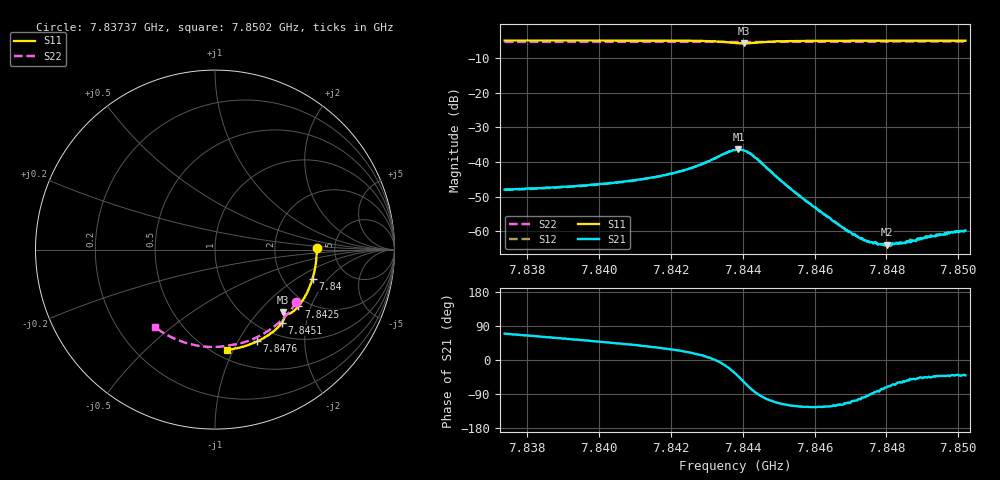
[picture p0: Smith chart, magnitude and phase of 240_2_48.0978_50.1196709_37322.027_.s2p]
#  HZ  S  RI  R  50.00
! Rohde & Schwarz Vector Network Analyzer
! Rohde-Schwarz,ZNB20-2Port,1311601062101988,3.16
! Created: UTC 12/23/2023, 3:58:40 AM
! freq[Hz]  re:S11  im:S11  re:S21  im:S21  re:S12  im:S12  re:S22  im:S22
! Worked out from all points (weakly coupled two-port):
!   401 points, 7.83737 GHz to 7.8502 GHz, reference 50 ohm
!   highest |S21| = -36.38 dB at 7.84388 GHz (marker M1); lowest = -63.9 dB at 7.84802 GHz (marker M2)
!   lowest |S11| = -5.8 dB at 7.84404 GHz (marker M3), VSWR 3.12, Z = 72.3 - j68.7 ohm
!   |S11| at or under -10 dB: nowhere
!   |S22| runs from -5.4 to -5.3 dB; largest |S21 - S12| = 0.00028
!   S11 on the Smith chart (normalised r, x): 7.83737 GHz: 3.61, +0.12; 7.84 GHz: 2.89, -1.38; 7.8425 GHz: 1.77, -1.64; 7.8451 GHz: 1.25, -1.46; 7.8476 GHz: 0.81, -1.21; 7.8502 GHz: 0.58, -0.95
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7.837367e9  0.5662 0.0116  0.00138 0.00375  0.00144 0.00366  0.4539 -0.2919
7.839517e9  0.5517 -0.1306  0.00277 0.00363  0.00275 0.00356  0.3567 -0.4062
7.839998e9  0.5432 -0.1619  0.00319 0.00356  0.00312 0.00356  0.3306 -0.4278
7.841666e9  0.4986 -0.2668  0.00525 0.00333  0.00523 0.0033  0.2313 -0.4894
7.8425e9  0.4642 -0.3169  0.00749 0.00276  0.00743 0.00276  0.1771 -0.5117
7.843783e9  0.3811 -0.3568  0.0121 -0.0086  0.0122 -0.00843  0.0903 -0.5315
7.84388e9  0.3781 -0.3538  0.011 -0.0105  0.011 -0.0102  0.084 -0.5323
7.84404e9  0.3784 -0.349  0.0075 -0.0125  0.00771 -0.0126  0.0742 -0.5339
7.844425e9  0.3884 -0.3606  1.97e-05 -0.0107  6.54e-05 -0.0108  0.0491 -0.5384
7.845099e9  0.3736 -0.4064  -0.00229 -0.00465  -0.00228 -0.00466  0.00172 -0.5427
7.845933e9  0.3321 -0.4507  -0.00131 -0.00193  -0.00135 -0.00198  -0.057 -0.5405
7.846928e9  0.2756 -0.4901  -0.000384 -0.000922  -0.000378 -0.000906  -0.1261 -0.5295
7.847248e9  0.2566 -0.5007  -0.000184 -0.000792  -0.000174 -0.000772  -0.148 -0.524
7.847601e9  0.2351 -0.5113  1.94e-05 -0.000693  -5.64e-06 -0.000683  -0.1716 -0.5168
7.847826e9  0.2213 -0.5176  0.000114 -0.000638  0.000138 -0.000666  -0.1867 -0.5118
7.848018e9  0.2094 -0.5226  0.000199 -0.000605  0.0002 -0.000577  -0.1994 -0.5072
7.848082e9  0.2055 -0.5242  0.000242 -0.000623  0.000233 -0.000579  -0.2034 -0.5055
7.848243e9  0.1954 -0.5281  0.000276 -0.000605  0.00028 -0.000621  -0.2141 -0.5015
7.8485e9  0.1791 -0.5337  0.000368 -0.000577  0.000402 -0.000579  -0.2306 -0.4942
7.848756e9  0.1626 -0.539  0.000474 -0.000551  0.000455 -0.000548  -0.2468 -0.4865
7.849077e9  0.142 -0.5447  0.000556 -0.000566  0.000572 -0.000601  -0.2667 -0.4759
7.8502e9  0.0686 -0.5584  0.000778 -0.000667  0.000768 -0.0007  -0.3326 -0.433
